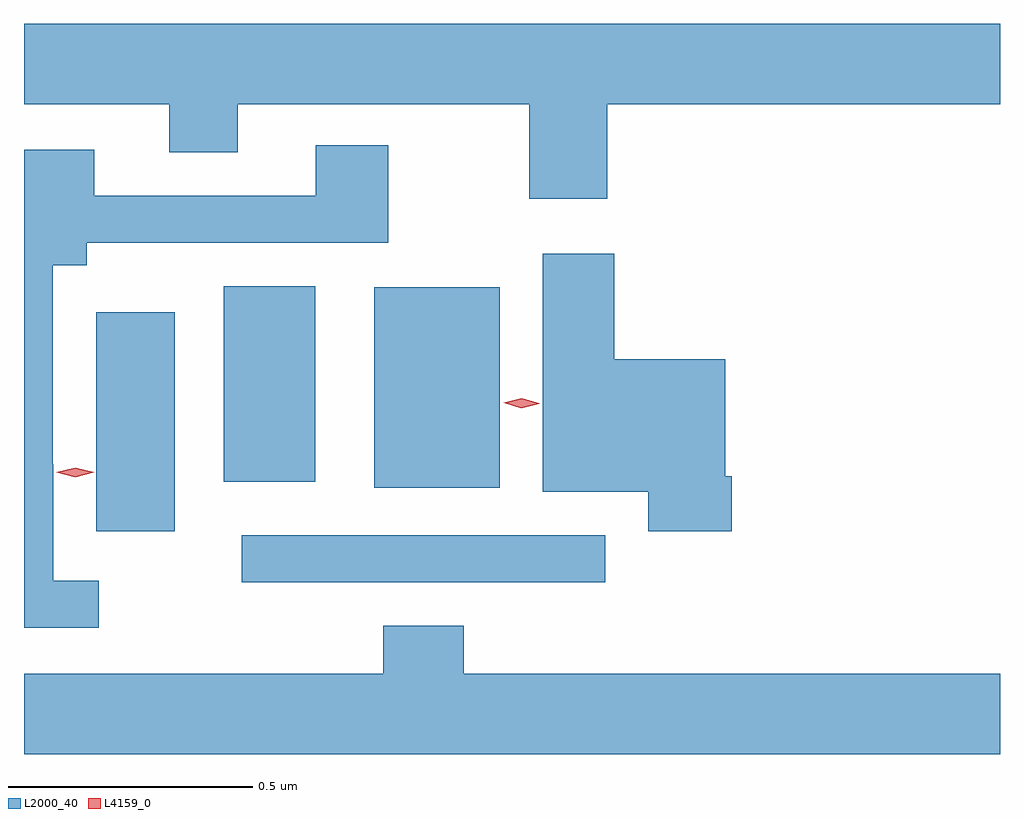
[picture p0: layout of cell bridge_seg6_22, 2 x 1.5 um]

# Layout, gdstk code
import gdstk
lib = gdstk.Library(unit=1e-6, precision=1e-09)
def R(c, l, rs):  # rectangles x0, y0, x1, y1
    for r in rs: c.add(gdstk.rectangle(r[:2], r[2:], *l))
def P(c, l, *ps):  # polygons
    for p in ps: c.add(gdstk.Polygon(p, *l))
L2000_40 = (2000, 40)
L4159_0 = (4159, 0)

bridge_seg6_22 = lib.new_cell('bridge_seg6_22')
R(bridge_seg6_22, L2000_40, [(965.931,992.976,966.676,993.072), (965.633,993.081,965.794,993.529), (966.203,993.17,966.46,993.58), (965.894,993.182,966.082,993.583)])
P(bridge_seg6_22, L2000_40, [(966.68,993.956),(967.485,993.956),(967.485,994.12),(965.485,994.12),(965.485,993.956),(965.783,993.956),(965.783,993.857),(965.923,993.857),(965.923,993.956),(966.52,993.956),(966.52,993.762),(966.68,993.762)],
  [(965.638,992.979),(965.545,992.979),(965.545,993.218),(965.544,993.218),(965.544,993.626),(965.614,993.626),(965.614,993.672),(966.231,993.672),(966.231,993.871),(966.083,993.871),(966.083,993.768),(965.629,993.768),(965.629,993.862),(965.485,993.862),(965.485,992.883),(965.638,992.883)],
  [(966.935,993.193),(966.922,993.193),(966.922,993.433),(966.695,993.433),(966.695,993.649),(966.548,993.649),(966.548,993.161),(966.764,993.161),(966.764,993.081),(966.935,993.081)],
  [(967.485,992.788),(966.386,992.788),(966.386,992.887),(966.221,992.887),(966.221,992.788),(965.485,992.788),(965.485,992.624),(967.485,992.624)])
P(bridge_seg6_22, L4159_0, [(966.504,993.333),(966.468,993.344),(966.468,993.344),(966.468,993.344),(966.505,993.353),(966.541,993.343),(966.541,993.342),(966.541,993.342)],
  [(965.59,993.191),(965.551,993.201),(965.551,993.201),(965.551,993.201),(965.59,993.211),(965.629,993.201),(965.629,993.201),(965.629,993.201)])

lib.write_gds('bridge_seg6_22.gds')
